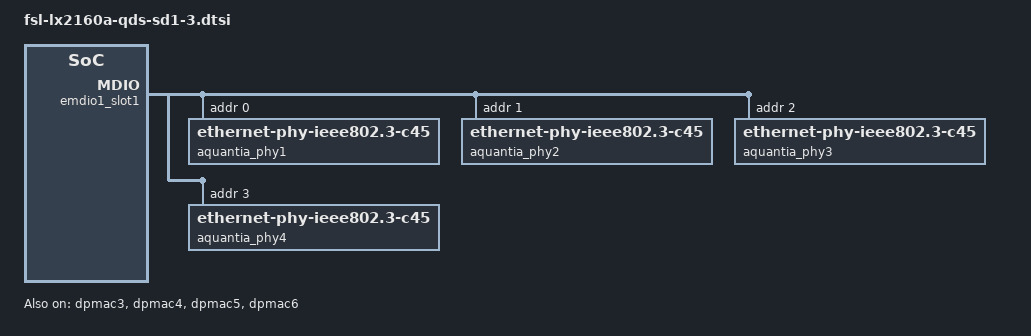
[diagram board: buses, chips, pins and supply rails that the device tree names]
// SPDX-License-Identifier: GPL-2.0+ OR X11
/*
 * NXP LX2160AQDS device tree source for the SERDES block #1 - protocol 3
 *
 * Some assumptions are made:
 *    * mezzanine card M11 is connected to IO SLOT1 (usxgmii for DPMAC 3,4,5,6)
 *
 * Copyright 2020 NXP
 *
 */

#include "fsl-lx2160a-qds.dtsi"

&dpmac3 {
	status = "okay";
	phy-handle = <&aquantia_phy1>;
	phy-connection-type = "usxgmii";
};

&dpmac4 {
	status = "okay";
	phy-handle = <&aquantia_phy2>;
	phy-connection-type = "usxgmii";
};

&dpmac5 {
	status = "okay";
	phy-handle = <&aquantia_phy3>;
	phy-connection-type = "usxgmii";
};

&dpmac6 {
	status = "okay";
	phy-handle = <&aquantia_phy4>;
	phy-connection-type = "usxgmii";
};

&emdio1_slot1 {
	aquantia_phy1: ethernet-phy@4 {
		compatible = "ethernet-phy-ieee802.3-c45";
		reg = <0x0>;
	};
	aquantia_phy2: ethernet-phy@5 {
		compatible = "ethernet-phy-ieee802.3-c45";
		reg = <0x1>;
	};
	aquantia_phy3: ethernet-phy@6 {
		compatible = "ethernet-phy-ieee802.3-c45";
		reg = <0x2>;
	};
	aquantia_phy4: ethernet-phy@7 {
		compatible = "ethernet-phy-ieee802.3-c45";
		reg = <0x3>;
	};
};
